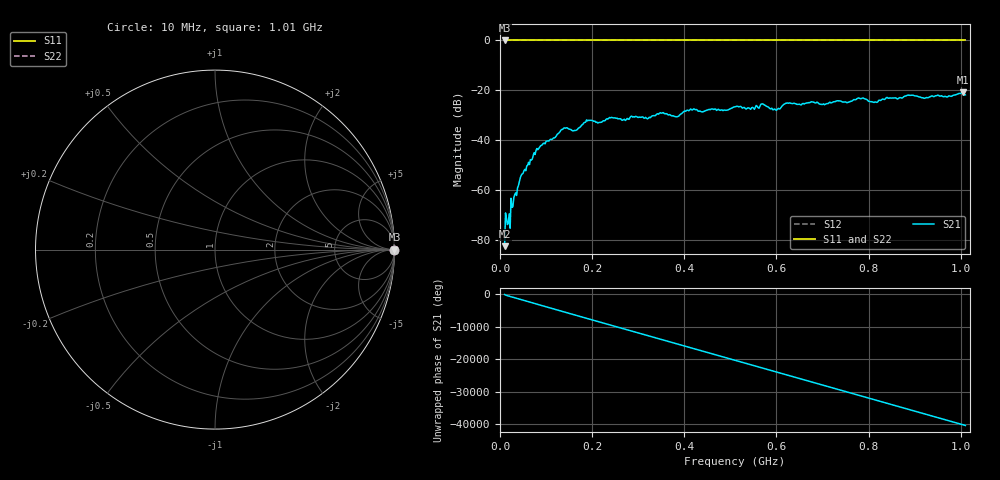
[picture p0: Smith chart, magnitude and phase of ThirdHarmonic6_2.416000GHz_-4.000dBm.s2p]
! 8/17/2025 4:05:05 AM
! C:\ANRITSUVNA\TEMP\TEMP.S2P
! CHANNEL.1
! TR.MEASUREMENT
! RAW.DATA
! RF.CORRECTION.OFF
! AVERAGING.OFF
! IF.BANDWIDTH: 5KHZ
! SWEEPTYPE:  FREQ.SWEEP(Linear)
! Reference Plane Port Info
! PORT:  PORT1  PORT2
! DISTANCE:  0  m  0  m
! TIME:  0  s  0  s
! PHASE.OFFSET:  0  deg.  0  deg.
! LOSS:  0  dB  0  dB
! REF.LOSS:  0  dB  0  dB
! REF.FREQ:  0  Hz  0  Hz
! Power Info
! POWER:  -20  dBm  -20  dBm
! EFF.POWER:  -20  dBm  -20  dBm
! SOURCE.ATTEN:  0  dB  0  dB
! TEST.ATTEN:  0  dB  0  dB
# GHZ S RI R 50.0
! FREQ.GHZ  S11RE  S11IM  S21RE  S21IM  S12RE  S12IM  S22RE  S22IM
!; PortSelection: Port_12
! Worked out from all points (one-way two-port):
!   501 points, 10 MHz to 1.01 GHz, reference 50 ohm
!   highest |S21| = -20.82 dB at 1.004 GHz (marker M1); lowest = -82.5 dB at 10 MHz (marker M2)
!   lowest |S11| = 0.0 dB at 10 MHz (marker M3)
!   |S11| at or under -10 dB: nowhere
!   |S22| runs from 0.0 to 0.0 dB; largest |S21 - S12| = 1.1
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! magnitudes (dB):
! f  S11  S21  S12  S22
! 10 MHz  0.0  -82.5  0.0  0.0
! 18 MHz  0.0  -73.4  0.0  0.0
! 46 MHz  0.0  -54.1  0.0  0.0
! 76 MHz  0.0  -45.7  0.0  0.0
! 136 MHz  0.0  -35.7  0.0  0.0
! 162 MHz  0.0  -36.1  0.0  0.0
! 178 MHz  0.0  -33.9  0.0  0.0
! 192 MHz  0.0  -32.0  0.0  0.0
! 322 MHz  0.0  -31.2  0.0  0.0
! 344 MHz  0.0  -29.6  0.0  0.0
! 384 MHz  0.0  -30.7  0.0  0.0
! 416 MHz  0.0  -27.9  0.0  0.0
! 510 MHz  0.0  -26.6  0.0  0.0
! 570 MHz  0.0  -25.4  0.0  0.0
! 596 MHz  0.0  -27.5  0.0  0.0
! 624 MHz  0.0  -25.1  0.0  0.0
! 678 MHz  0.0  -24.6  0.0  0.0
! 784 MHz  0.0  -23.4  0.0  0.0
! 814 MHz  0.0  -24.7  0.0  0.0
! 844 MHz  0.0  -23.2  0.0  0.0
! 1.004 GHz  0.0  -20.8  0.0  0.0
! 1.01 GHz  0.0  -21.8  0.0  0.0
